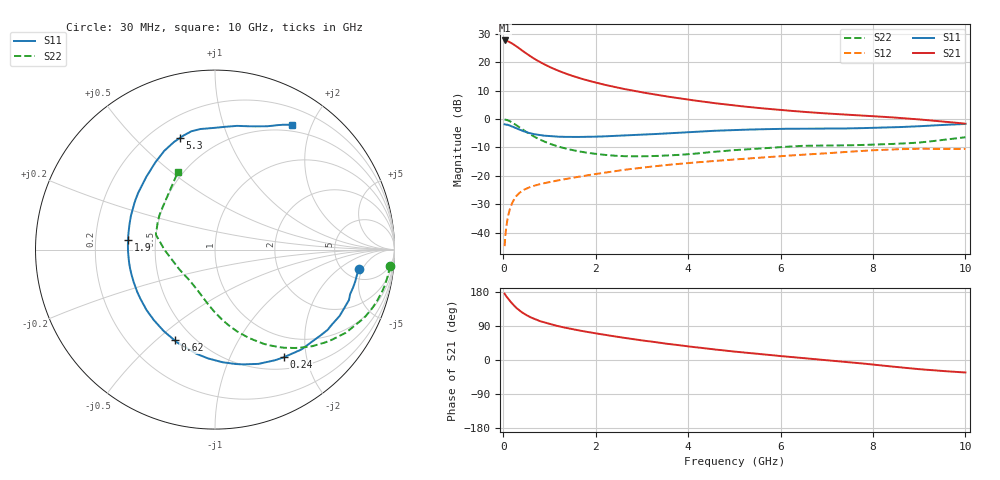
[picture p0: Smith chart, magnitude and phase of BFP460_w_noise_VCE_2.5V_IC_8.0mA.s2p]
! (c) 2016  Infineon Technologies AG, Munich
! Infineon Technologies  Discrete & RF Semiconductors
! BFP460
! VCE =  2.5 V,  IC =  8.0 mA
! Common Emitter S-Parameters:  Jan 2016
# GHz  S  MA  R  50
!  f  S11  S21  S12  S22
! GHz  MAG  ANG  MAG  ANG  MAG  ANG  MAG  ANG
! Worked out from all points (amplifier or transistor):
!   229 points, 30 MHz to 10 GHz, reference 50 ohm
!   highest |S21| = 27.6 dB at 30 MHz (marker M1)
!   |S21| within 3 dB of that: start of sweep to 364.1 MHz
!   unconditionally stable (mu >= 1): 2.637 GHz to 7.893 GHz
!   at 280 MHz: K = 0.23, MSG = 26.4 dB, |S12| = -27.2 dB
!   at 1.78 GHz: K = 0.88, MSG = 16.8 dB, |S12| = -19.9 dB
!   at 10 GHz: K = 0.97, MSG = 4.5 dB, |S12| = -10.5 dB
!   lowest NFmin = 0.89 dB at 450 MHz
!   S11 on the Smith chart (normalised r, x): 30 MHz: 6.68, -4.20; 240 MHz: 0.67, -1.62; 620 MHz: 0.40, -0.58; 1.9 GHz: 0.35, +0.05; 5.3 GHz: 0.32, +0.68; 10 GHz: 0.41, +1.72
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0.03  0.807 -7.8  24.09 175.0  0.0058 85.4  0.9795 -5.3
0.05  0.8011 -12.9  23.84 170.7  0.0096 82.8  0.9739 -8.7
0.07  0.7928 -18.2  23.81 167.4  0.0133 80.8  0.9662 -12.1
0.14  0.7704 -35.5  22.57 156.6  0.0255 72.4  0.9189 -23.6
0.2  0.7357 -49.2  21.17 148.0  0.0342 66.0  0.864 -32.4
0.24  0.7117 -57.5  20.14 142.9  0.0391 62.5  0.8236 -37.5
0.3  0.6811 -69.2  18.63 135.9  0.0457 57.9  0.7638 -44.8
0.42  0.6196 -88.9  15.8 124.6  0.0551 51.1  0.6537 -56.3
0.5  0.5893 -100.2  14.2 118.6  0.0597 48.0  0.5917 -62.6
0.62  0.5533 -114.0  12.22 111.2  0.0652 44.9  0.5165 -70.0
0.8  0.52 -131.0  9.984 102.4  0.0717 42.3  0.4327 -79.3
1  0.4994 -145.5  8.273 95.1  0.0778 41.1  0.3696 -87.2
1.3  0.4864 -162.1  6.535 86.3  0.0866 40.6  0.31 -96.7
1.7  0.4848 -179.0  5.099 76.7  0.0986 40.5  0.2643 -107.1
1.9  0.4874 173.9  4.596 72.5  0.1048 40.3  0.2497 -111.9
2.6  0.5126 153.3  3.397 58.8  0.1269 38.7  0.2223 -129.7
3.4  0.5507 135.4  2.602 45.4  0.1513 35.2  0.2256 -149.3
5.1  0.6449 109.7  1.697 21.1  0.1969 27.0  0.2868 178.4
5.3  0.6514 107.6  1.632 18.8  0.2028 26.0  0.2934 176.3
6.8  0.676 94.1  1.285 1.9  0.2441 17.4  0.3403 164.9
8.4  0.7133 74.4  1.071 -17.1  0.2918 5.0  0.3639 148.3
10  0.8182 58.2  0.829 -33.0  0.2972 -7.0  0.4783 115.6
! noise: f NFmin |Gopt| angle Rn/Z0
0.45  0.89  0.2  13  0.14
1.9  1.1  0.09  121  0.12
3.5  1.17  0.33  -142  0.11
